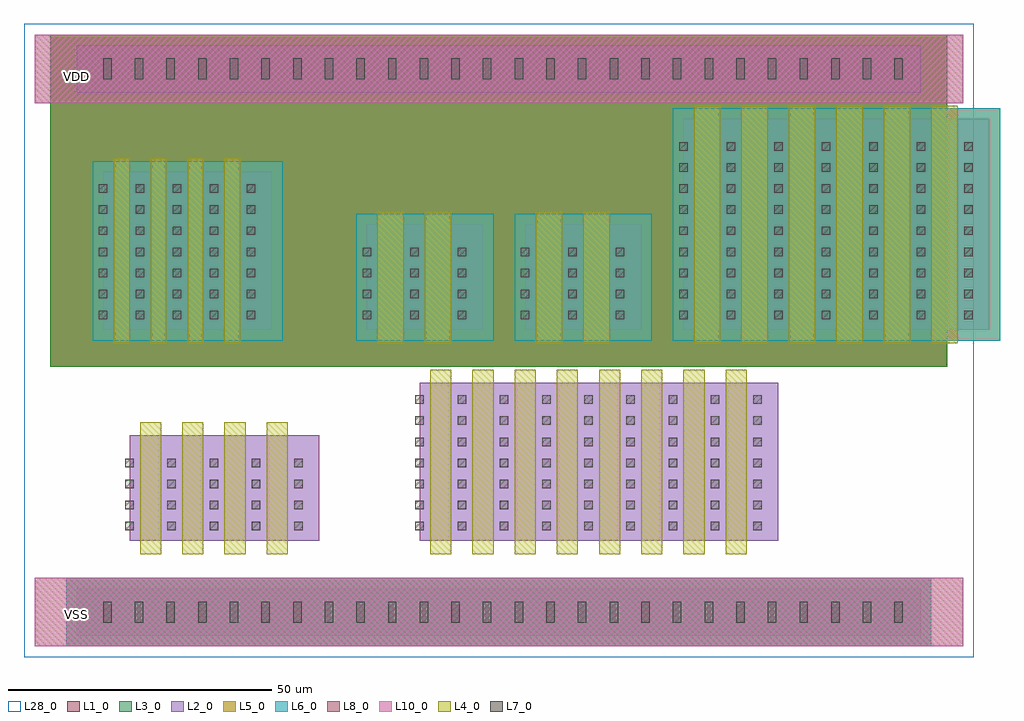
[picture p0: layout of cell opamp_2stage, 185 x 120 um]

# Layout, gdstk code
import gdstk
lib = gdstk.Library(unit=1e-6, precision=1e-09)
def R(c, l, rs):  # rectangles x0, y0, x1, y1
    for r in rs: c.add(gdstk.rectangle(r[:2], r[2:], *l))
def A(c, l, x, y, w, h, nx, ny, dx, dy):  # array of equal rectangles
    R(c, l, [(x+i*dx, y+j*dy, x+i*dx+w, y+j*dy+h) for i in range(nx) for j in range(ny)])
L1_0 = (1, 0)
L2_0 = (2, 0)
L3_0 = (3, 0)
L4_0 = (4, 0)
L5_0 = (5, 0)
L6_0 = (6, 0)
L7_0 = (7, 0)
L8_0 = (8, 0)
L10_0 = (10, 0)
L28_0 = (28, 0)

opamp_2stage = lib.new_cell('opamp_2stage')
R(opamp_2stage, L1_0, [(5,55,175,118)])
R(opamp_2stage, L2_0, [(10,4,170,13), (20,22,56,42), (75,22,143,52), (15,62,47,92), (65,62,87,82), (95,62,117,82), (125,62,183,102), (10,107,170,116)])
R(opamp_2stage, L3_0, [(5,55,175,118)])
A(opamp_2stage, L4_0, 22, 19.5, 4, 25, 4, 1, 8, 0)
A(opamp_2stage, L4_0, 77, 19.5, 4, 35, 8, 1, 8, 0)
A(opamp_2stage, L4_0, 17, 59.5, 3, 35, 4, 1, 7, 0)
A(opamp_2stage, L4_0, 127, 59.5, 5, 45, 6, 1, 9, 0)
R(opamp_2stage, L4_0, [(67,59.5,72,84.5), (76,59.5,81,84.5), (97,59.5,102,84.5), (106,59.5,111,84.5)])
R(opamp_2stage, L5_0, [(8,2,172,15), (13,60,49,94), (63,60,89,84), (93,60,119,84), (123,60,185,104)])
R(opamp_2stage, L6_0, [(8,2,172,15), (13,60,49,94), (63,60,89,84), (93,60,119,84), (123,60,185,104)])
A(opamp_2stage, L7_0, 15, 6.5, 1.6, 4, 8, 2, 6, 103)
A(opamp_2stage, L7_0, 69, 6.5, 1.6, 4, 17, 2, 6, 103)
A(opamp_2stage, L7_0, 19.2, 24, 1.6, 1.6, 5, 4, 8, 4)
A(opamp_2stage, L7_0, 74.2, 24, 1.6, 1.6, 7, 7, 8, 4)
A(opamp_2stage, L7_0, 130.199, 24, 1.6, 1.6, 1, 7, 0, 4)
A(opamp_2stage, L7_0, 138.2, 24, 1.599, 1.6, 1, 7, 0, 4)
A(opamp_2stage, L7_0, 14.2, 64, 1.599, 1.6, 1, 7, 0, 4)
A(opamp_2stage, L7_0, 21.2, 64, 1.6, 1.6, 4, 7, 7, 4)
A(opamp_2stage, L7_0, 64.2, 64, 1.6, 1.6, 3, 4, 9, 4)
A(opamp_2stage, L7_0, 94.2, 64, 1.6, 1.6, 3, 4, 9, 4)
A(opamp_2stage, L7_0, 124.2, 64, 1.6, 1.6, 1, 9, 0, 4)
A(opamp_2stage, L7_0, 133.2, 64, 1.599, 1.6, 6, 9, 9, 4)
R(opamp_2stage, L7_0, [(63,6.5,64.599,10.5), (63,109.5,64.599,113.5)])
R(opamp_2stage, L8_0, [(2,2,178,15), (2,105,178,118)])
R(opamp_2stage, L10_0, [(2,2,178,15), (2,105,178,118)])
R(opamp_2stage, L28_0, [(0,0,180,120)])
opamp_2stage.add(gdstk.Label('VDD', (10,110), layer=8, texttype=7))
opamp_2stage.add(gdstk.Label('VSS', (10,8), layer=8, texttype=7))

lib.write_gds('opamp_2stage.gds')
